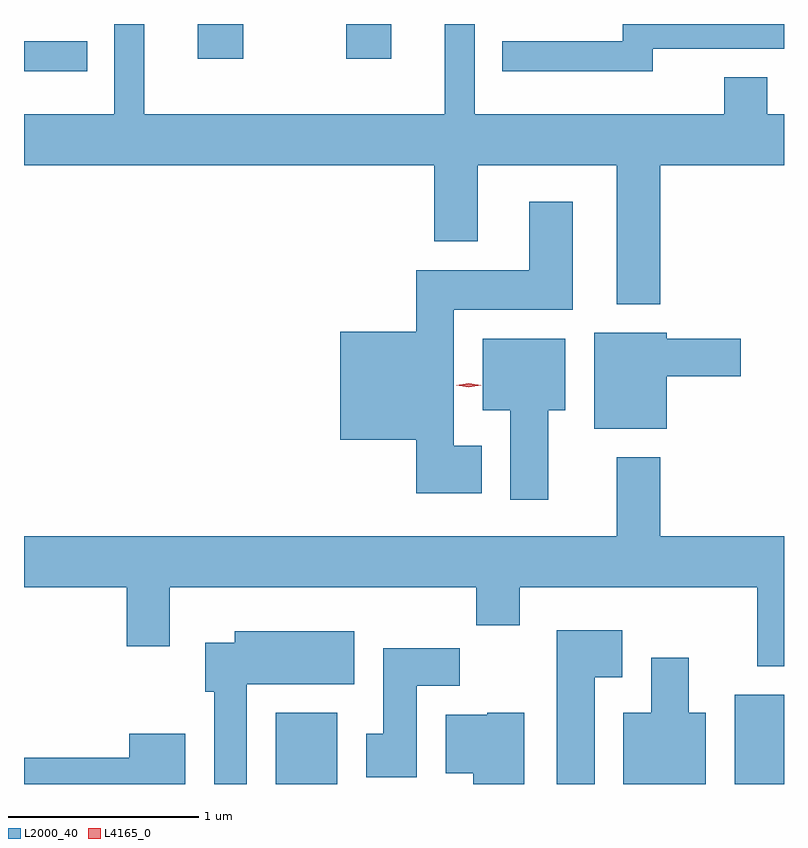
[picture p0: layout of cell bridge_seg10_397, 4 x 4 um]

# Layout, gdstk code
import gdstk
lib = gdstk.Library(unit=1e-6, precision=1e-09)
def R(c, l, rs):  # rectangles x0, y0, x1, y1
    for r in rs: c.add(gdstk.rectangle(r[:2], r[2:], *l))
def P(c, l, *ps):  # polygons
    for p in ps: c.add(gdstk.Polygon(p, *l))
L2000_40 = (2000, 40)
L4165_0 = (4165, 0)

bridge_seg10_397 = lib.new_cell('bridge_seg10_397')
R(bridge_seg10_397, L2000_40, [(1296.066,2097.34,1296.389,2097.714), (1298.481,2097.34,1298.741,2097.809), (1294.741,2101.091,1295.073,2101.249), (1295.656,2101.156,1295.894,2101.34), (1296.436,2101.156,1296.674,2101.34)])
P(bridge_seg10_397, L2000_40, [(1298.089,2100.596),(1298.741,2100.596),(1298.741,2100.864),(1298.654,2100.864),(1298.654,2101.059),(1298.426,2101.059),(1298.426,2100.864),(1297.114,2100.864),(1297.114,2101.34),(1296.956,2101.34),(1296.956,2100.864),(1295.374,2100.864),(1295.374,2101.34),(1295.216,2101.34),(1295.216,2100.864),(1294.741,2100.864),(1294.741,2100.596),(1296.901,2100.596),(1296.901,2100.196),(1297.129,2100.196),(1297.129,2100.596),(1297.861,2100.596),(1297.861,2099.866),(1298.089,2099.866)],
  [(1298.049,2101.211),(1298.741,2101.211),(1298.741,2101.34),(1297.891,2101.34),(1297.891,2101.249),(1297.258,2101.249),(1297.258,2101.091),(1298.049,2101.091)],
  [(1297.149,2099.119),(1297.004,2099.119),(1297.004,2099.836),(1297.629,2099.836),(1297.629,2100.404),(1297.401,2100.404),(1297.401,2100.044),(1296.806,2100.044),(1296.806,2099.719),(1296.406,2099.719),(1296.406,2099.151),(1296.806,2099.151),(1296.806,2098.871),(1297.149,2098.871)],
  [(1298.124,2099.486),(1298.514,2099.486),(1298.514,2099.684),(1298.124,2099.684),(1298.124,2099.714),(1297.741,2099.714),(1297.741,2099.211),(1298.124,2099.211)],
  [(1297.499,2099.306),(1297.589,2099.306),(1297.589,2099.684),(1297.156,2099.684),(1297.156,2099.306),(1297.301,2099.306),(1297.301,2098.836),(1297.499,2098.836)],
  [(1298.741,2098.644),(1298.089,2098.644),(1298.089,2099.059),(1297.861,2099.059),(1297.861,2098.644),(1294.741,2098.644),(1294.741,2098.376),(1295.281,2098.376),(1295.281,2098.066),(1295.509,2098.066),(1295.509,2098.376),(1297.121,2098.376),(1297.121,2098.176),(1297.349,2098.176),(1297.349,2098.376),(1298.601,2098.376),(1298.601,2097.961),(1298.741,2097.961)],
  [(1297.744,2097.901),(1297.889,2097.901),(1297.889,2098.149),(1297.546,2098.149),(1297.546,2097.34),(1297.744,2097.34)],
  [(1295.914,2097.866),(1296.479,2097.866),(1296.479,2098.144),(1295.851,2098.144),(1295.851,2098.084),(1295.696,2098.084),(1295.696,2097.826),(1295.741,2097.826),(1295.741,2097.34),(1295.914,2097.34)],
  [(1296.809,2097.856),(1297.034,2097.856),(1297.034,2098.054),(1296.631,2098.054),(1296.631,2097.604),(1296.541,2097.604),(1296.541,2097.376),(1296.809,2097.376)],
  [(1298.329,2097.714),(1298.239,2097.714),(1298.239,2098.004),(1298.041,2098.004),(1298.041,2097.714),(1297.896,2097.714),(1297.896,2097.34),(1298.329,2097.34)],
  [(1297.374,2097.714),(1297.18,2097.714),(1297.18,2097.704),(1296.961,2097.704),(1296.961,2097.396),(1297.106,2097.396),(1297.106,2097.34),(1297.374,2097.34)],
  [(1295.589,2097.604),(1295.296,2097.604),(1295.296,2097.479),(1294.741,2097.479),(1294.741,2097.34),(1295.589,2097.34)])
P(bridge_seg10_397, L4165_0, [(1297.082,2099.428),(1297.016,2099.438),(1297.016,2099.438),(1297.016,2099.439),(1297.082,2099.448),(1297.148,2099.439),(1297.148,2099.438),(1297.148,2099.438)])

lib.write_gds('bridge_seg10_397.gds')
